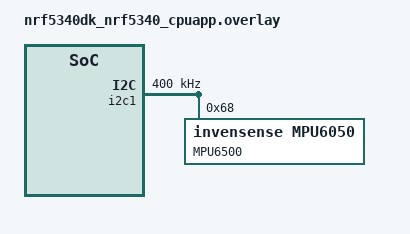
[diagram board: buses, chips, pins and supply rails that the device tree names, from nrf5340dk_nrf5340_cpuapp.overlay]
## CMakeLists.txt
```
#
# Copyright (c) 2018 Nordic Semiconductor
#
# SPDX-License-Identifier: LicenseRef-Nordic-5-Clause
#
cmake_minimum_required(VERSION 3.20.0)

find_package(Zephyr REQUIRED HINTS $ENV{ZEPHYR_BASE})
project(peripheral_lbs)

# NORDIC SDK APP START
target_sources(app PRIVATE
  src/main.c src/sensor_data_collector.c src/ble_imu_service.c
)

target_include_directories(app PRIVATE inc)

# NORDIC SDK APP END
```

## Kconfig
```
#
# Copyright (c) 2018 Nordic Semiconductor
#
# SPDX-License-Identifier: LicenseRef-Nordic-5-Clause
#

source "Kconfig.zephyr"

menu "Nordic LED-Button BLE GATT service sample"

config BT_LBS_SECURITY_ENABLED
	bool "Enable security"
	default y
	select BT_SMP
	select BT_SETTINGS
	select FLASH
	select FLASH_PAGE_LAYOUT
	select FLASH_MAP
	select ZMS if (SOC_FLASH_NRF_RRAM || SOC_FLASH_NRF_MRAM)
	select NVS if !(SOC_FLASH_NRF_RRAM || SOC_FLASH_NRF_MRAM)
	select SETTINGS
	help
	  "Enable BLE security for the LED-Button service"

config APP_SAMPLING_INTERVAL_MS
	int "Sampling interval [ms]"
	range 10 5400
	default 10
	help
	  "Set the sampling interval for the sensor data collection"

endmenu
```

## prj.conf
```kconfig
#
# Copyright (c) 2018 Nordic Semiconductor
#
# SPDX-License-Identifier: LicenseRef-Nordic-5-Clause
#
CONFIG_NCS_SAMPLES_DEFAULTS=y

CONFIG_BT=y
CONFIG_BT_PERIPHERAL=y
CONFIG_BT_DEVICE_NAME="MPU SENSOR NODE"
CONFIG_BT_BUF_ACL_TX_SIZE=502
CONFIG_BT_BUF_ACL_RX_SIZE=502
CONFIG_BT_L2CAP_TX_MTU=498
CONFIG_BT_CTLR_DATA_LENGTH_MAX=251

# Enable the LBS service
CONFIG_BT_LBS=y
CONFIG_BT_LBS_POLL_BUTTON=y
CONFIG_DK_LIBRARY=y

CONFIG_SYSTEM_WORKQUEUE_STACK_SIZE=2048

# Enable Sensor API
CONFIG_SENSOR=y

# Enable floating point printing support
CONFIG_CBPRINTF_FP_SUPPORT=y
CONFIG_CBPRINTF_COMPLETE=y

# Enabling the I2C driver
CONFIG_I2C=y
CONFIG_MPU6050=y

# Enable NSMS Service
CONFIG_BT_NSMS=y

# Enable floating string formatting
CONFIG_NEWLIB_LIBC=y
CONFIG_NEWLIB_LIBC_FLOAT_PRINTF=y

#Setting up sampling interval
#CONFIG_APP_SAMPLING_INTERVAL_MS=10
```

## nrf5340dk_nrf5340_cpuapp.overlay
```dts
#include <zephyr/dt-bindings/i2c/i2c.h>

// &pinctrl{
// 	// Just initilizing the pinctrl node to avoid a warning about it being empty.
// };

&i2c1{

	compatible = "nordic,nrf-twim";
	status = "okay";
	clock-frequency = <I2C_BITRATE_FAST>;

	mpu6500: mpu6500@68 {
		compatible = "invensense,mpu6050";
		reg = <0x68>;
		label = "MPU6500";
		status = "okay";
	};

};
```

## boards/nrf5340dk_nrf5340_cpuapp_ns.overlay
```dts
/*
 * Copyright (c) 2026 Nordic Semiconductor ASA
 *
 * SPDX-License-Identifier: LicenseRef-Nordic-5-Clause
 */

/delete-node/ &boot_partition;
/delete-node/ &slot0_partition;
/delete-node/ &slot1_partition;
/delete-node/ &tfm_its_partition;
/delete-node/ &tfm_otp_partition;
/delete-node/ &tfm_ps_partition;
/delete-node/ &storage_partition;

&flash0 {
	partitions {
		slot0_s_partition: partition@0 {
			compatible = "zephyr,mapped-partition";
			label = "image-0-secure";
			reg = <0x0 0x20000>;
		};

		slot0_ns_partition: partition@20000 {
			compatible = "zephyr,mapped-partition";
			label = "image-0-nonsecure";
			reg = <0x20000 0xd2000>;
		};

		nonsecure_storage: partition@f2000 {
			compatible = "zephyr,mapped-partition";
			label = "nonsecure-storage";
			reg = <0xf2000 DT_SIZE_K(8)>;
			ranges = <0x0 0xf2000 DT_SIZE_K(8)>;
			#address-cells = <1>;
			#size-cells = <1>;

			storage_partition: partition@0 {
				compatible = "zephyr,mapped-partition";
				label = "storage";
				reg = <0x0 DT_SIZE_K(8)>;
			};
		};

		tfm_storage_partition: partition@f4000 {
			compatible = "zephyr,mapped-partition";
			label = "tfm-storage";
			reg = <0xf4000 DT_SIZE_K(48)>;
			ranges = <0x0 0xf4000 DT_SIZE_K(48)>;
			#address-cells = <1>;
			#size-cells = <1>;

			tfm_its_partition: partition@0 {
				compatible = "zephyr,mapped-partition";
				label = "tfm-its";
				reg = <0x0 DT_SIZE_K(8)>;
			};

			tfm_otp_partition: partition@4000 {
				compatible = "zephyr,mapped-partition";
				label = "tfm-otp";
				reg = <0x4000 DT_SIZE_K(8)>;
			};

			tfm_ps_partition: partition@8000 {
				compatible = "zephyr,mapped-partition";
				label = "tfm-ps";
				reg = <0x8000 DT_SIZE_K(16)>;
			};
		};
	};
};

/*
 * TrustZone SRAM split from devicetree (region_defs.h for TF-M). The secure image uses
 * 48 KiB (0xc000) at the base of cpuapp SRAM (&sram0_s); NS RAM begins at 0x20000000 + 0xc000.
 * &sram0_ns spans 0x74000 bytes; &sram0_ns_app is 0x64000 because the top 0x10000 (64 KiB)
 * within that NS window is sram0_shared for application/network-core IPC
 * (nrf5340_shared_sram_partition.dtsi), i.e. 0x64000 + 0x10000 == 0x74000.
 */
&sram0_s {
	reg = <0x0 0xc000>;
};

&sram0_ns {
	reg = <0xc000 0x74000>;
	ranges = <0x0 0xc000 0x74000>;
};

&sram0_ns_app {
	reg = <0x0 0x64000>;
};

/ {
	sensor_sim: sensor-sim {
		compatible = "nordic,sensor-sim";
		status = "okay";
		acc-signal = "wave";
	};
};
```

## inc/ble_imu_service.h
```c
#ifndef BLE_IMU_SERVICE_H
#define BLE_IMU_SERVICE_H

#include <zephyr/kernel.h>
#include <zephyr/drivers/sensor.h>
#include <stdbool.h>

#define IMU_BATCH_SIZE  10

struct imu_sample_packed{
    int16_t ax,ay,az; //mili-g
    int16_t gx,gy,gz; // mili dps
}__packed;

struct imu_batch_packet{
    uint32_t batch_start_ts;
    struct imu_sample_packed samples[IMU_BATCH_SIZE];
}__packed;


int ble_imu_service_init(void);
void ble_imu_batch_add_sample(const struct sensor_value *acc,
                               const struct sensor_value *gyro);

bool ble_imu_is_connected(void);

#endif
```

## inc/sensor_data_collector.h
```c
#ifndef SENSOR_DATA_COLLECTOR_H
#define SENSOR_DATA_COLLECTOR_H     

#include <zephyr/drivers/sensor.h>

typedef struct {
    struct sensor_value temp;
    struct sensor_value pres;
    struct sensor_value humidity;
    struct sensor_value gas_res;
    struct sensor_value acc[3]; // Assuming 3-axis accelerometer
    struct sensor_value gyro[3]; // Assuming 3-axis gyroscope
} Sensorreadings;

#endif // SENSOR_DATA_COLLECTOR_H
```

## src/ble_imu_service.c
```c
#include "ble_imu_service.h"
#include <zephyr/bluetooth/bluetooth.h>
#include <zephyr/bluetooth/conn.h>
#include <zephyr/bluetooth/gatt.h>
#include <zephyr/bluetooth/uuid.h>
#include <zephyr/sys/printk.h>
#include <string.h>

/* Custom 128-bit UUIDs for this project. Regenerate your own if you want
 * globally unique values (e.g. `uuidgen`), these are fine for dev/test. */
#define BT_UUID_IMU_SERVICE_VAL \
    BT_UUID_128_ENCODE(0x12345678, 0x1234, 0x5678, 0x1234, 0x56789abc0001)
#define BT_UUID_IMU_BATCH_CHRC_VAL \
    BT_UUID_128_ENCODE(0x12345678, 0x1234, 0x5678, 0x1234, 0x56789abc0002)

static struct bt_uuid_128 imu_svc_uuid   = BT_UUID_INIT_128(BT_UUID_IMU_SERVICE_VAL);
static struct bt_uuid_128 imu_batch_uuid = BT_UUID_INIT_128(BT_UUID_IMU_BATCH_CHRC_VAL);

static struct bt_conn *imu_conn;
static bool notify_enabled;

/* Double buffer: fill one while the other is (potentially) still being
 * transmitted, so filling never blocks on the radio. */
static struct imu_batch_packet batch_buf[2];
static uint8_t active_buf;
static uint8_t sample_idx;

static uint32_t notify_ok_count;
static uint32_t notify_fail_count;

static void imu_ccc_cfg_changed(const struct bt_gatt_attr *attr, uint16_t value)
{
    notify_enabled = (value == BT_GATT_CCC_NOTIFY);
    printk("[BLE IMU] Notifications %s\n", notify_enabled ? "enabled" : "disabled");
}

BT_GATT_SERVICE_DEFINE(imu_svc,
    BT_GATT_PRIMARY_SERVICE(&imu_svc_uuid),
    BT_GATT_CHARACTERISTIC(&imu_batch_uuid.uuid,
        BT_GATT_CHRC_NOTIFY, BT_GATT_PERM_NONE,
        NULL, NULL, NULL),
    BT_GATT_CCC(imu_ccc_cfg_changed, BT_GATT_PERM_READ | BT_GATT_PERM_WRITE),
);

static void imu_connected(struct bt_conn *conn, uint8_t err)
{
    if (!err) {
        imu_conn = conn;
        notify_ok_count = 0;
        notify_fail_count = 0;
    }
}

static void imu_disconnected(struct bt_conn *conn, uint8_t reason)
{
    imu_conn = NULL;
    notify_enabled = false;
}

BT_CONN_CB_DEFINE(imu_conn_callbacks) = {
    .connected = imu_connected,
    .disconnected = imu_disconnected,
};

bool ble_imu_is_connected(void)
{
    return imu_conn != NULL && notify_enabled;
}

int ble_imu_service_init(void)
{
    sample_idx = 0;
    active_buf = 0;
    memset(batch_buf, 0, sizeof(batch_buf));
    notify_ok_count = 0;
    notify_fail_count = 0;
    return 0;
}

static int16_t sv_to_millis(const struct sensor_value *v)
{
    double d = sensor_value_to_double(v) * 1000.0;
    if (d > 32767.0) {
        d = 32767.0;
    }
    if (d < -32768.0) {
        d = -32768.0;
    }
    return (int16_t)d;
}

static void flush_batch(uint8_t buf_to_send)
{
    if (!ble_imu_is_connected()) {
        return;
    }

    int err = bt_gatt_notify(imu_conn, &imu_svc.attrs[1],
                              &batch_buf[buf_to_send],
                              sizeof(struct imu_batch_packet));
    if (err) {
        notify_fail_count++;
        /* Throttle failure logging so a jammed link doesn't itself flood RTT */
        if (notify_fail_count % 20 == 1) {
            printk("[BLE IMU] notify failed err=%d (fail_count=%u, ok_count=%u)\n",
                   err, notify_fail_count, notify_ok_count);
        }
    } else {
        notify_ok_count++;
    }
}

void ble_imu_batch_add_sample(const struct sensor_value *acc,
                               const struct sensor_value *gyro)
{
    struct imu_batch_packet *pkt = &batch_buf[active_buf];

    if (sample_idx == 0) {
        pkt->batch_start_ts = (uint32_t)k_uptime_get();
    }

    struct imu_sample_packed *s = &pkt->samples[sample_idx];
    s->ax = sv_to_millis(&acc[0]);
    s->ay = sv_to_millis(&acc[1]);
    s->az = sv_to_millis(&acc[2]);
    s->gx = sv_to_millis(&gyro[0]);
    s->gy = sv_to_millis(&gyro[1]);
    s->gz = sv_to_millis(&gyro[2]);

    sample_idx++;

    if (sample_idx >= IMU_BATCH_SIZE) {
        uint8_t full_buf = active_buf;
        active_buf = 1 - active_buf;   /* swap immediately, don't wait on TX */
        sample_idx = 0;
        flush_batch(full_buf);
    }
}
```

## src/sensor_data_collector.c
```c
#include <stdio.h>
#include <zephyr/kernel.h>
#include <zephyr/device.h>
#include <zephyr/drivers/sensor.h>
#include <zephyr/bluetooth/conn.h>
#include <bluetooth/services/nsms.h>
#include <zephyr/devicetree.h>
#include "sensor_data_collector.h"
#include "ble_imu_service.h"


#define SENSOR_THREAD_PRIORITY 7
#define SENSOR_THREAD_STACK_SIZE 1024
#define BUF_SIZE 64

BT_NSMS_DEF(nsms_imu, "IMU", false,"Unknown", BUF_SIZE);
BT_NSMS_DEF(nsms_env, "Environmental", false,"Unknown", BUF_SIZE);

static struct bt_conn *current_conn = NULL;

static void connected(struct bt_conn *conn, uint8_t err)
{
    if (err) {
        printk("Connection failed (err %u)\n", err);
    } else {
        printk("Connected\n");
        current_conn = bt_conn_ref(conn);
    }
}

static void disconnected(struct bt_conn *conn, uint8_t reason)
{
    printk("Disconnected (reason %u)\n", reason);
    if (current_conn) {
        bt_conn_unref(current_conn);
        current_conn = NULL;
    }
}

BT_CONN_CB_DEFINE(conn_callbacks) = {
    .connected = connected,
    .disconnected = disconnected,
};


static bool send_sensor_value(const struct sensor_value *val, size_t size, const char *channel){

    float float_data[size];
    char buf[BUF_SIZE];

    int len = snprintf(buf, BUF_SIZE, "%s", channel);

    for (size_t i = 0; i < size ; i++){

        float_data[i] = sensor_value_to_float(&val[i]);

        int rem = BUF_SIZE - len;
        if (rem <= 0) {
            break;
        }
        int n = snprintf(buf + len, rem, " %.6f", float_data[i]);
        if (n < 0) {
            break;
        }
        len += n;

    }

    if(!strcmp(channel,"gyr")){
        bt_nsms_set_status(&nsms_imu, buf);
    }
    else if(!strcmp(channel,"acc")){
        bt_nsms_set_status(&nsms_env, buf);
    } else{
        bt_nsms_set_status(&nsms_env, buf);
    }
    return true;
}


static const struct device *get_mpu6500_sensor(void){
    const struct device *dev = DEVICE_DT_GET(DT_NODELABEL(mpu6500));

    if (dev == NULL) {
        printk("Sensor device not found\n");
        return NULL;
    }

    if (!device_is_ready(dev)) {
        printk("Sensor device not ready\n");
        return NULL;
    }

    printk("Found Device \"%s\" ,getting sensor data\n", dev->name);

    return dev;
}

int sensor_data_collection_init(void) {

    const struct device *sim_dev = get_mpu6500_sensor();

    if (sim_dev == NULL) {
        printk("[INIT FAIL] MPU6500 device not found/ready\n");
        return -1;
    }

    int64_t last_ts = k_uptime_get();
    int64_t max_dt = 0;
    int64_t sample_count = 0;

#define LOG_EVERY_N_SAMPLES 10

    while (1) {
        Sensorreadings value;
        int rc = sensor_sample_fetch(sim_dev);
        if (rc) {
            printk("[SAMPLE FETCH FAIL] err=%d, retrying in %dms\n",
                   rc, CONFIG_APP_SAMPLING_INTERVAL_MS);
            k_sleep(K_MSEC(CONFIG_APP_SAMPLING_INTERVAL_MS));
            continue;
        }

        int64_t now = k_uptime_get();
        int64_t dt = now - last_ts;
        last_ts = now;
        sample_count++;
        if (dt > max_dt) {
            max_dt = dt;
        }

        sensor_channel_get(sim_dev, SENSOR_CHAN_DIE_TEMP, &value.temp);
        sensor_channel_get(sim_dev, SENSOR_CHAN_ACCEL_XYZ, value.acc);
        sensor_channel_get(sim_dev, SENSOR_CHAN_GYRO_XYZ, value.gyro);

        /* Only print every Nth sample — printing every sample at 100Hz
         * floods RTT/UART and corrupts output, and eats into the sampling budget. */
        if (sample_count % LOG_EVERY_N_SAMPLES == 0) {
            printk("[SAMPLE #%lld] dt=%lldms (target=%dms, worst=%lldms)%s\n",
                   sample_count, dt, CONFIG_APP_SAMPLING_INTERVAL_MS, max_dt,
                   (dt > CONFIG_APP_SAMPLING_INTERVAL_MS + 5) ? "  <-- JITTER SPIKE" : "");

            printk("  Temp: %.2f C | Accel[X:%.2f Y:%.2f Z:%.2f] | Gyro[X:%.2f Y:%.2f Z:%.2f]\n",
                   value.temp.val1 + value.temp.val2 / 1000000.0,
                   value.acc[0].val1 + value.acc[0].val2 / 1000000.0,
                   value.acc[1].val1 + value.acc[1].val2 / 1000000.0,
                   value.acc[2].val1 + value.acc[2].val2 / 1000000.0,
                   value.gyro[0].val1 + value.gyro[0].val2 / 1000000.0,
                   value.gyro[1].val1 + value.gyro[1].val2 / 1000000.0,
                   value.gyro[2].val1 + value.gyro[2].val2 / 1000000.0);
        }

        if (current_conn != NULL) {
            send_sensor_value(value.acc, 3, "acc");
            send_sensor_value(value.gyro, 3, "gyr");
            send_sensor_value(&value.temp, 1, "temp");
        }

        k_sleep(K_MSEC(CONFIG_APP_SAMPLING_INTERVAL_MS));
    }
    return 0;
}


K_THREAD_DEFINE(sensor_data_collector_id, SENSOR_THREAD_STACK_SIZE, sensor_data_collection_init, NULL, NULL, NULL, SENSOR_THREAD_PRIORITY, 0, 1000);
```
